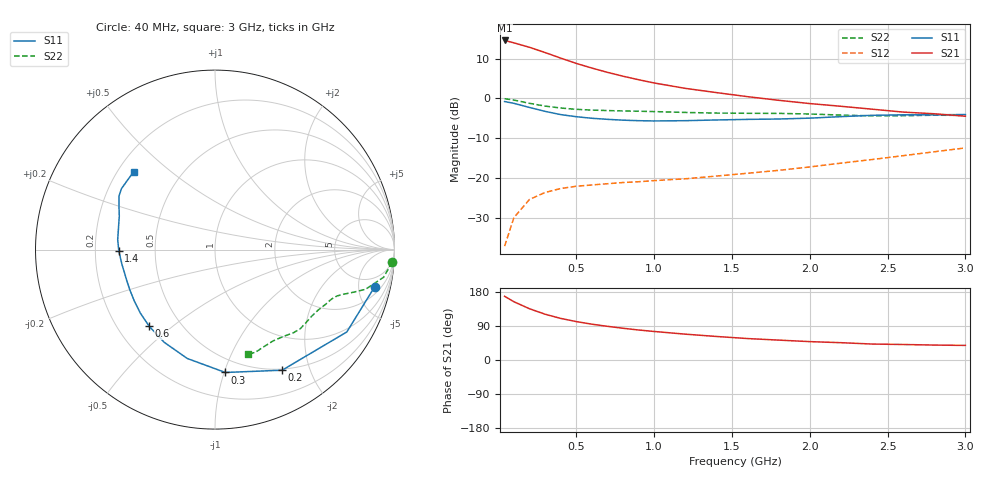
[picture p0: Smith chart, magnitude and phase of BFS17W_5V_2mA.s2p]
! Filename:  BFS17WA.S2P  Version:  4.0
! Philips part #: BFS17W  Date: Jun 1994
! Bias condition: Vce=5V, Ic=2mA
#  MHz  S  MA  R  50
! Freq  S11  S21  S12  S22  !GUM [dB]
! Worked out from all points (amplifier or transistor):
!   21 points, 40 MHz to 3 GHz, reference 50 ohm
!   highest |S21| = 14.5 dB at 40 MHz (marker M1)
!   |S21| within 3 dB of that: start of sweep to 297.7 MHz
!   unconditionally stable (mu >= 1): 807.9 MHz to end of sweep
!   at 300 MHz: K = 0.49, MSG = 17.6 dB, |S12| = -23.6 dB
!   at 1 GHz: K = 1.17, MAG = 9.8 dB, |S12| = -20.6 dB
!   at 3 GHz: K = 1.21, MAG = 1.2 dB, |S12| = -12.4 dB
!   S11 on the Smith chart (normalised r, x): 40 MHz: 2.98, -7.47; 200 MHz: 0.48, -1.59; 300 MHz: 0.39, -1.01; 600 MHz: 0.33, -0.42; 1.4 GHz: 0.30, -0.01; 3 GHz: 0.26, +0.38
40  0.913 -13.2  5.327 168.1  0.014 82.2  0.99 -4.0
100  0.866 -32.0  4.969 153.7  0.032 69.9  0.952 -9.3
200  0.769 -60.9  4.368 135.2  0.054 56.6  0.867 -14.8
300  0.687 -85.2  3.758 120.8  0.066 48.8  0.8 -17.4
400  0.626 -104.3  3.201 109.8  0.074 45.0  0.757 -19.2
500  0.589 -118.7  2.746 101.4  0.079 43.6  0.729 -20.7
600  0.563 -130.6  2.402 94.5  0.082 43.5  0.713 -22.1
700  0.546 -139.7  2.122 88.9  0.085 44.4  0.703 -23.4
800  0.533 -147.5  1.898 83.8  0.088 45.9  0.696 -24.6
900  0.525 -154.5  1.715 79.2  0.09 47.6  0.69 -25.8
1000  0.521 -160.5  1.561 75.3  0.093 49.8  0.683 -27.1
1200  0.525 -171.0  1.336 68.2  0.098 54.3  0.666 -30.4
1400  0.536 -179.2  1.182 62.1  0.106 59.4  0.654 -34.6
1600  0.545 174.1  1.051 56.6  0.115 64.3  0.65 -39.1
1800  0.551 167.4  0.946 52.5  0.125 69.4  0.648 -42.9
2000  0.565 160.7  0.861 48.5  0.138 73.9  0.637 -46.7
2200  0.59 155.1  0.796 45.7  0.154 77.8  0.617 -51.4
2400  0.613 150.7  0.732 42.1  0.171 80.7  0.603 -57.5
2600  0.622 146.9  0.673 40.9  0.191 82.6  0.606 -63.7
2800  0.622 142.1  0.641 39.4  0.214 84.3  0.615 -68.5
3000  0.627 136.4  0.597 38.5  0.239 85.4  0.612 -72.3
